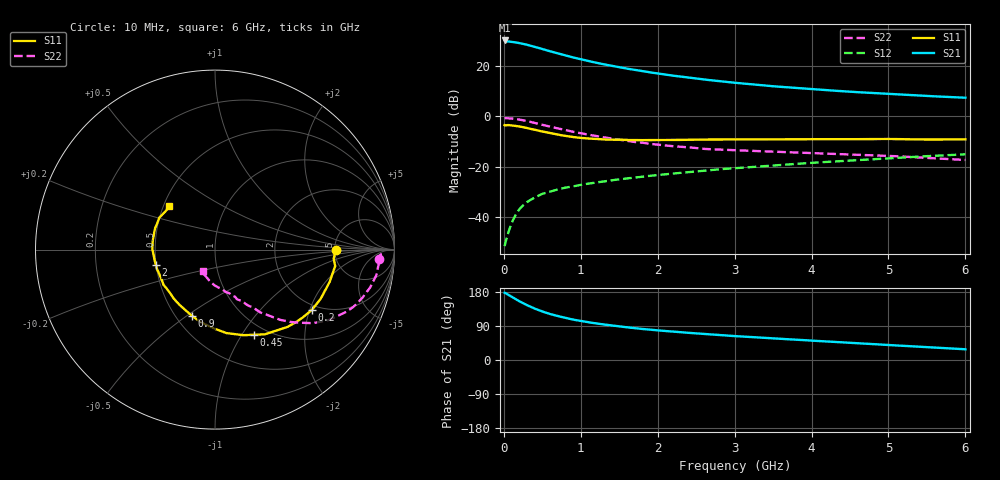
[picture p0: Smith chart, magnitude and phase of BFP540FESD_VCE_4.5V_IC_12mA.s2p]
! Infineon Technologies  Discrete & RF Semiconductors
! BFP540FESD
! VCE =  4.5 V,  IC =  12 mA
! Common Emitter S-Parameters:  Nov 2015
# GHz  S  MA  R  50
!  f  S11  S21  S12  S22
! GHz  MAG  ANG  MAG  ANG  MAG  ANG  MAG  ANG
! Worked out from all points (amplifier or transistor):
!   210 points, 10 MHz to 6 GHz, reference 50 ohm
!   highest |S21| = 30.1 dB at 10 MHz (marker M1)
!   |S21| within 3 dB of that: start of sweep to 456.7 MHz
!   unconditionally stable (mu >= 1): start of sweep to 19.42 MHz; 2.08 GHz to end of sweep
!   at 185 MHz: K = 0.38, MSG = 33.3 dB, |S12| = -37.5 dB
!   at 1.52 GHz: K = 0.88, MSG = 22.1 dB, |S12| = -24.8 dB
!   at 6 GHz: K = 1.21, MAG = 8.4 dB, |S12| = -15.0 dB
!   S11 on the Smith chart (normalised r, x): 10 MHz: 5.09, -0.09; 200 MHz: 1.83, -2.07; 450 MHz: 0.87, -1.13; 900 MHz: 0.60, -0.53; 2 GHz: 0.50, -0.10; 6 GHz: 0.54, +0.30
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0.01  0.6715 -0.4  31.86 177.4  0.0027 11.8  0.9178 -3.4
0.02  0.6633 -4.4  30.67 176.6  0.0032 28.1  0.9246 -1.6
0.05  0.6758 -7.8  30.56 173.2  0.0045 49.3  0.917 -4.5
0.115  0.6576 -18.5  29.75 165.3  0.0085 65.5  0.903 -10.5
0.15  0.6494 -25.0  29.39 161.1  0.011 67.5  0.8899 -13.7
0.2  0.6356 -32.0  28.34 155.2  0.0144 65.8  0.8651 -17.9
0.3  0.5909 -46.8  26.23 144.8  0.0201 65.5  0.8092 -25.4
0.4  0.5474 -59.6  23.86 135.7  0.0247 61.7  0.7462 -31.7
0.45  0.5221 -65.3  22.7 132.0  0.027 60.7  0.7137 -34.2
0.5  0.5026 -71.6  21.65 127.9  0.0293 59.8  0.6827 -36.9
0.6  0.4694 -82.2  19.49 121.4  0.0325 58.0  0.6264 -40.7
0.8  0.4119 -101.2  16.11 110.9  0.0389 56.2  0.5329 -47.2
0.9  0.3908 -109.0  14.7 106.6  0.0411 56.2  0.4956 -49.4
1.02  0.3731 -117.4  13.3 102.3  0.0447 55.5  0.4575 -52.0
1.2  0.3571 -129.9  11.53 96.4  0.0493 54.8  0.4086 -55.4
1.42  0.3458 -141.4  9.921 90.5  0.0548 54.4  0.3603 -59.5
2  0.3406 -165.6  7.07 78.1  0.069 53.6  0.2763 -69.3
2.02  0.3406 -166.0  7.003 77.8  0.0695 53.5  0.2743 -69.5
3.1  0.3501 170.7  4.496 62.0  0.0966 50.7  0.2113 -85.2
4.1  0.354 159.3  3.382 50.0  0.123 46.9  0.1863 -95.8
5.1  0.3553 148.7  2.738 38.4  0.1515 40.8  0.1629 -106.0
6  0.3513 136.2  2.343 28.3  0.1777 34.5  0.1371 -119.1
